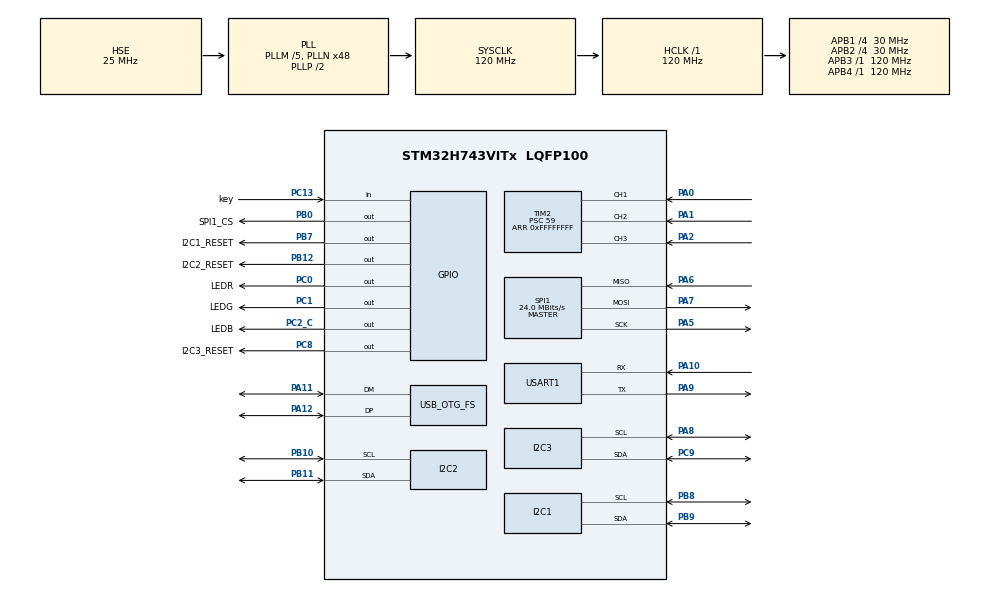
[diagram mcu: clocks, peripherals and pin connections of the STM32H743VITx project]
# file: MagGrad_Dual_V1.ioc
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CORTEX_M7.default_mode_Activation=1
Dma.I2C1_RX.0.Direction=DMA_PERIPH_TO_MEMORY
Dma.I2C1_RX.0.EventEnable=DISABLE
Dma.I2C1_RX.0.FIFOMode=DMA_FIFOMODE_DISABLE
Dma.I2C1_RX.0.Instance=DMA1_Stream0
Dma.I2C1_RX.0.MemDataAlignment=DMA_MDATAALIGN_BYTE
Dma.I2C1_RX.0.MemInc=DMA_MINC_ENABLE
Dma.I2C1_RX.0.Mode=DMA_NORMAL
Dma.I2C1_RX.0.PeriphDataAlignment=DMA_PDATAALIGN_BYTE
Dma.I2C1_RX.0.PeriphInc=DMA_PINC_DISABLE
Dma.I2C1_RX.0.Polarity=HAL_DMAMUX_REQ_GEN_RISING
Dma.I2C1_RX.0.Priority=DMA_PRIORITY_HIGH
Dma.I2C1_RX.0.RequestNumber=1
Dma.I2C1_RX.0.SignalID=NONE
Dma.I2C1_RX.0.SyncEnable=DISABLE
Dma.I2C1_RX.0.SyncPolarity=HAL_DMAMUX_SYNC_NO_EVENT
Dma.I2C1_RX.0.SyncRequestNumber=1
Dma.I2C1_RX.0.SyncSignalID=NONE
Dma.I2C1_TX.1.Direction=DMA_MEMORY_TO_PERIPH
Dma.I2C1_TX.1.EventEnable=DISABLE
Dma.I2C1_TX.1.FIFOMode=DMA_FIFOMODE_DISABLE
Dma.I2C1_TX.1.Instance=DMA1_Stream1
Dma.I2C1_TX.1.MemDataAlignment=DMA_MDATAALIGN_BYTE
Dma.I2C1_TX.1.MemInc=DMA_MINC_ENABLE
Dma.I2C1_TX.1.Mode=DMA_NORMAL
Dma.I2C1_TX.1.PeriphDataAlignment=DMA_PDATAALIGN_BYTE
Dma.I2C1_TX.1.PeriphInc=DMA_PINC_DISABLE
Dma.I2C1_TX.1.Polarity=HAL_DMAMUX_REQ_GEN_RISING
Dma.I2C1_TX.1.Priority=DMA_PRIORITY_HIGH
Dma.I2C1_TX.1.RequestNumber=1
Dma.I2C1_TX.1.SignalID=NONE
Dma.I2C1_TX.1.SyncEnable=DISABLE
Dma.I2C1_TX.1.SyncPolarity=HAL_DMAMUX_SYNC_NO_EVENT
Dma.I2C1_TX.1.SyncRequestNumber=1
Dma.I2C1_TX.1.SyncSignalID=NONE
Dma.I2C2_RX.2.Direction=DMA_PERIPH_TO_MEMORY
Dma.I2C2_RX.2.EventEnable=DISABLE
Dma.I2C2_RX.2.FIFOMode=DMA_FIFOMODE_DISABLE
Dma.I2C2_RX.2.Instance=DMA1_Stream2
Dma.I2C2_RX.2.MemDataAlignment=DMA_MDATAALIGN_BYTE
Dma.I2C2_RX.2.MemInc=DMA_MINC_ENABLE
Dma.I2C2_RX.2.Mode=DMA_NORMAL
Dma.I2C2_RX.2.PeriphDataAlignment=DMA_PDATAALIGN_BYTE
Dma.I2C2_RX.2.PeriphInc=DMA_PINC_DISABLE
Dma.I2C2_RX.2.Polarity=HAL_DMAMUX_REQ_GEN_RISING
Dma.I2C2_RX.2.Priority=DMA_PRIORITY_HIGH
Dma.I2C2_RX.2.RequestNumber=1
Dma.I2C2_RX.2.SignalID=NONE
Dma.I2C2_RX.2.SyncEnable=DISABLE
Dma.I2C2_RX.2.SyncPolarity=HAL_DMAMUX_SYNC_NO_EVENT
Dma.I2C2_RX.2.SyncRequestNumber=1
Dma.I2C2_RX.2.SyncSignalID=NONE
Dma.I2C2_TX.3.Direction=DMA_MEMORY_TO_PERIPH
Dma.I2C2_TX.3.EventEnable=DISABLE
Dma.I2C2_TX.3.FIFOMode=DMA_FIFOMODE_DISABLE
Dma.I2C2_TX.3.Instance=DMA1_Stream3
Dma.I2C2_TX.3.MemDataAlignment=DMA_MDATAALIGN_BYTE
Dma.I2C2_TX.3.MemInc=DMA_MINC_ENABLE
Dma.I2C2_TX.3.Mode=DMA_NORMAL
Dma.I2C2_TX.3.PeriphDataAlignment=DMA_PDATAALIGN_BYTE
Dma.I2C2_TX.3.PeriphInc=DMA_PINC_DISABLE
Dma.I2C2_TX.3.Polarity=HAL_DMAMUX_REQ_GEN_RISING
Dma.I2C2_TX.3.Priority=DMA_PRIORITY_HIGH
Dma.I2C2_TX.3.RequestNumber=1
Dma.I2C2_TX.3.SignalID=NONE
Dma.I2C2_TX.3.SyncEnable=DISABLE
Dma.I2C2_TX.3.SyncPolarity=HAL_DMAMUX_SYNC_NO_EVENT
Dma.I2C2_TX.3.SyncRequestNumber=1
Dma.I2C2_TX.3.SyncSignalID=NONE
Dma.Request0=I2C1_RX
Dma.Request1=I2C1_TX
Dma.Request2=I2C2_RX
Dma.Request3=I2C2_TX
I2C1.Timing=0x00300C10
I2C2.Timing=0x00300C10
I2C3.Timing=0x20F22C36
Mcu.Family=STM32H7
Mcu.Name=STM32H743VITx
Mcu.Package=LQFP100
NVIC.DMA1_Stream0_IRQn=true\:0\:0\:false\:false\:true\:false\:true\:true
NVIC.DMA1_Stream1_IRQn=true\:0\:0\:false\:false\:true\:false\:true\:true
NVIC.DMA1_Stream2_IRQn=true\:0\:0\:false\:false\:true\:false\:true\:true
NVIC.DMA1_Stream3_IRQn=true\:0\:0\:false\:false\:true\:false\:true\:true
NVIC.OTG_FS_IRQn=true\:0\:0\:false\:false\:true\:false\:true\:true
NVIC.PriorityGroup=NVIC_PRIORITYGROUP_4
NVIC.SPI1_IRQn=true\:0\:0\:false\:false\:true\:true\:true\:true
NVIC.TIM2_IRQn=true\:0\:0\:false\:false\:true\:true\:true\:true
PA0.Signal=S_TIM2_CH1_ETR
PA1.Signal=S_TIM2_CH2
PA10.Mode=Asynchronous
PA10.Signal=USART1_RX
PA11.GPIO_Speed=GPIO_SPEED_FREQ_HIGH
PA11.Mode=Device_Only
PA11.Signal=USB_OTG_FS_DM
PA12.GPIO_Speed=GPIO_SPEED_FREQ_HIGH
PA12.Mode=Device_Only
PA12.Signal=USB_OTG_FS_DP
PA2.Signal=S_TIM2_CH3
PA5.GPIO_Speed=GPIO_SPEED_FREQ_VERY_HIGH
PA5.Mode=Full_Duplex_Master
PA5.Signal=SPI1_SCK
PA6.GPIO_Speed=GPIO_SPEED_FREQ_VERY_HIGH
PA6.Mode=Full_Duplex_Master
PA6.Signal=SPI1_MISO
PA7.GPIO_Speed=GPIO_SPEED_FREQ_VERY_HIGH
PA7.Mode=Full_Duplex_Master
PA7.Signal=SPI1_MOSI
PA8.GPIO_Pu=GPIO_PULLUP
PA8.GPIO_PuPd=GPIO_PULLUP
PA8.GPIO_Speed=GPIO_SPEED_FREQ_VERY_HIGH
PA8.Mode=I2C
PA8.Signal=I2C3_SCL
PA9.Mode=Asynchronous
PA9.Signal=USART1_TX
PB0.GPIO_Label=SPI1_CS
PB0.GPIO_OutputLevel=GPIO_PIN_SET
PB0.Signal=GPIO_Output
PB10.GPIO_Pu=GPIO_PULLUP
PB10.GPIO_PuPd=GPIO_PULLUP
PB10.GPIO_Speed=GPIO_SPEED_FREQ_VERY_HIGH
PB10.Mode=I2C
PB10.Signal=I2C2_SCL
PB11.GPIO_Pu=GPIO_PULLUP
PB11.GPIO_PuPd=GPIO_PULLUP
PB11.GPIO_Speed=GPIO_SPEED_FREQ_VERY_HIGH
PB11.Mode=I2C
PB11.Signal=I2C2_SDA
PB12.GPIO_Label=I2C2_RESET
PB12.GPIO_OutputLevel=GPIO_PIN_SET
PB12.Signal=GPIO_Output
PB7.GPIO_Label=I2C1_RESET
PB7.GPIO_OutputLevel=GPIO_PIN_SET
PB7.Signal=GPIO_Output
PB8.GPIO_Pu=GPIO_PULLUP
PB8.GPIO_PuPd=GPIO_PULLUP
PB8.GPIO_Speed=GPIO_SPEED_FREQ_VERY_HIGH
PB8.Mode=I2C
PB8.Signal=I2C1_SCL
PB9.GPIO_Pu=GPIO_PULLUP
PB9.GPIO_PuPd=GPIO_PULLUP
PB9.GPIO_Speed=GPIO_SPEED_FREQ_VERY_HIGH
PB9.Mode=I2C
PB9.Signal=I2C1_SDA
PC0.GPIO_Label=LEDR
PC0.GPIO_OutputLevel=GPIO_PIN_SET
PC0.Signal=GPIO_Output
PC1.GPIO_Label=LEDG
PC1.Signal=GPIO_Output
PC13.GPIO_Label=key
PC13.Signal=GPIO_Input
PC14-OSC32_IN\ (OSC32_IN).Mode=LSE-External-Oscillator
PC14-OSC32_IN\ (OSC32_IN).Signal=RCC_OSC32_IN
PC15-OSC32_OUT\ (OSC32_OUT).Mode=LSE-External-Oscillator
PC15-OSC32_OUT\ (OSC32_OUT).Signal=RCC_OSC32_OUT
PC2_C.GPIO_Label=LEDB
PC2_C.GPIO_OutputLevel=GPIO_PIN_SET
PC2_C.Signal=GPIO_Output
PC8.GPIO_Label=I2C3_RESET
PC8.GPIO_OutputLevel=GPIO_PIN_SET
PC8.Signal=GPIO_Output
PC9.GPIO_Pu=GPIO_PULLUP
PC9.GPIO_PuPd=GPIO_PULLUP
PC9.GPIO_Speed=GPIO_SPEED_FREQ_VERY_HIGH
PC9.Mode=I2C
PC9.Signal=I2C3_SDA
PH0-OSC_IN\ (PH0).Mode=HSE-External-Oscillator
PH0-OSC_IN\ (PH0).Signal=RCC_OSC_IN
PH1-OSC_OUT\ (PH1).Mode=HSE-External-Oscillator
PH1-OSC_OUT\ (PH1).Signal=RCC_OSC_OUT
ProjectManager.HeapSize=0x200
ProjectManager.StackSize=0x400
ProjectManager.TargetToolchain=STM32CubeIDE
RCC.ADCFreq_Value=50390625
RCC.APB1Freq_Value=30000000
RCC.APB2Freq_Value=30000000
RCC.APB3Freq_Value=120000000
RCC.APB4Freq_Value=120000000
RCC.CKPERSourceSelection=RCC_CLKPSOURCE_HSE
RCC.CortexFreq_Value=120000000
RCC.D2PPRE1=RCC_APB1_DIV4
RCC.D2PPRE2=RCC_APB2_DIV4
RCC.DIVM1=5
RCC.DIVN1=48
RCC.DIVQ1=5
RCC.HCLKFreq_Value=120000000
RCC.HSE_VALUE=25000000
RCC.PLLFRACN=0
RCC.PLLSourceVirtual=RCC_PLLSOURCE_HSE
RCC.SYSCLKFreq_VALUE=120000000
RCC.SYSCLKSource=RCC_SYSCLKSOURCE_PLLCLK
RCC.USBFreq_Value=48000000
SH.S_TIM2_CH1_ETR.0=TIM2_CH1,Input_Capture1_from_TI1
SH.S_TIM2_CH2.0=TIM2_CH2,Input_Capture2_from_TI2
SH.S_TIM2_CH3.0=TIM2_CH3,Input_Capture3_from_TI3
SPI1.BaudRatePrescaler=SPI_BAUDRATEPRESCALER_2
SPI1.CalculateBaudRate=24.0 MBits/s
SPI1.DataSize=SPI_DATASIZE_8BIT
SPI1.Direction=SPI_DIRECTION_2LINES
SPI1.Mode=SPI_MODE_MASTER
SPI1.NSSPMode=SPI_NSS_PULSE_DISABLE
SPI1.VirtualType=VM_MASTER
TIM2.Channel-Input_Capture1_from_TI1=TIM_CHANNEL_1
TIM2.Channel-Input_Capture2_from_TI2=TIM_CHANNEL_2
TIM2.Channel-Input_Capture3_from_TI3=TIM_CHANNEL_3
TIM2.ICPrescaler-Input_Capture3_from_TI3=TIM_ICPSC_DIV1
TIM2.Period=0xFFFFFFFF
TIM2.Prescaler=59
USART1.VirtualMode-Asynchronous=VM_ASYNC
USB_DEVICE.CLASS_NAME_FS=CDC
USB_DEVICE.VirtualMode-CDC_FS=Cdc
USB_DEVICE.VirtualModeFS=Cdc_FS
USB_OTG_FS.VirtualMode=Device_Only
VP_MEMORYMAP_VS_MEMORYMAP.Mode=CurAppReg
VP_TIM2_VS_ClockSourceINT.Mode=Internal
VP_USB_DEVICE_VS_USB_DEVICE_CDC_FS.Mode=CDC_FS
board=custom

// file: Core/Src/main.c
#include "sensor_error.h"
uint16_t g_sensor_errormap = 0;
uint8_t g_sensor_failure_streak[12] = {0};
/* USER CODE BEGIN Header */
/**
  ******************************************************************************
  * @file           : main.c
  * @brief          : Main program body
  ******************************************************************************
  * @attention
  *
  * Copyright (c) 2026 STMicroelectronics.
  * All rights reserved.
  *
  * This software is licensed under terms that can be found in the LICENSE file
  * in the root directory of this software component.
  * If no LICENSE file comes with this software, it is provided AS-IS.
  *
  ******************************************************************************
  */
/* USER CODE END Header */
#include "main.h"
#include "dma.h"
#include "i2c.h"
#include "spi.h"
#include "tim.h"
#include "usart.h"
#include "usb_device.h"
#include "gpio.h"

/* USER CODE BEGIN Includes */
#include "icm42670.h"
#include "sensor_ak09973d.h"
#include "sensor_tmag3001.h"
#include "tmag_debug.h"
#include "binary_writer.h"
#include "csv_writer.h"
#include <stdio.h>
#include <string.h>
#include "usbd_cdc_if.h"
#include "usbd_cdc.h"
/* USER CODE END Includes */

/* USER CODE BEGIN PD */

#define PHASE_CAPTURE_CHANNEL_COUNT  3U
#define PHASE_CAPTURE_NO_EDGE        UINT32_MAX

/* USER CODE END PD */

/* USER CODE BEGIN PV */
uint32_t g_device_id;
volatile uint8_t g_tmag_init_debug = TMAG_INIT_DEBUG;
icm42670_raw_t imu;
icm42670_t icm = {
    .hspi = &hspi1,
    .cs_port = SPI1_CS_GPIO_Port,
    .cs_pin = SPI1_CS_Pin};
static volatile uint32_t phase_last_capture[PHASE_CAPTURE_CHANNEL_COUNT];
static volatile uint8_t phase_capture_valid[PHASE_CAPTURE_CHANNEL_COUNT];
/* USER CODE END PV */

void SystemClock_Config(void);
static void MPU_Config(void);

/* USER CODE BEGIN 0 */

#ifndef SENSOR_OUTPUT_ICM
#define SENSOR_OUTPUT_ICM   0
#endif
#ifndef SENSOR_OUTPUT_AK
#define SENSOR_OUTPUT_AK    1
#endif
#ifndef SENSOR_OUTPUT_TMAG
#define SENSOR_OUTPUT_TMAG  0
#endif
#if SENSOR_OUTPUT_AK && SENSOR_OUTPUT_TMAG
#error AK and TMAG must not be enabled together
#endif
#ifndef SENSOR_OUTPUT_FORMAT
#define SENSOR_OUTPUT_FORMAT SENSOR_OUTPUT_FORMAT_BINARY
#endif
#ifndef SENSOR_EMPTY_ROUND_PERIOD_MS
#define SENSOR_EMPTY_ROUND_PERIOD_MS 10U
#endif

static uint32_t DeviceId_FromUID(void)
{
    const uint32_t uid[3] = {
        HAL_GetUIDw0(), HAL_GetUIDw1(), HAL_GetUIDw2()
    };
    uint32_t crc = 0xFFFFFFFFU;

    /* CRC-32/ISO-HDLC over w0, w1, w2, each serialized little-endian. */
    for (size_t word = 0; word < 3U; word++) {
        for (uint32_t byte = 0; byte < 4U; byte++) {
            crc ^= (uid[word] >> (8U * byte)) & 0xFFU;
            for (uint32_t bit = 0; bit < 8U; bit++) {
                crc = (crc >> 1) ^ ((crc & 1U) ? 0xEDB88320U : 0U);
            }
        }
    }
    return crc ^ 0xFFFFFFFFU;
}

static uint32_t PhaseCapture_EnterCritical(void)
{
    uint32_t primask = __get_PRIMASK();
    __disable_irq();
    __DMB();
    return primask;
}

static void PhaseCapture_ExitCritical(uint32_t primask)
{
    __DMB();
    if (primask == 0U) {
        __enable_irq();
    }
}

static void PhaseCapture_Start(void)
{
    uint32_t primask = PhaseCapture_EnterCritical();

    for (uint32_t i = 0; i < PHASE_CAPTURE_CHANNEL_COUNT; i++) {
        phase_last_capture[i] = 0U;
        phase_capture_valid[i] = 0U;
    }
    __HAL_TIM_CLEAR_FLAG(&htim2, TIM_FLAG_CC1 | TIM_FLAG_CC2 | TIM_FLAG_CC3);

    PhaseCapture_ExitCritical(primask);

    if (HAL_TIM_IC_Start_IT(&htim2, TIM_CHANNEL_1) != HAL_OK ||
        HAL_TIM_IC_Start_IT(&htim2, TIM_CHANNEL_2) != HAL_OK ||
        HAL_TIM_IC_Start_IT(&htim2, TIM_CHANNEL_3) != HAL_OK) {
        Error_Handler();
    }
}

static void PhaseCapture_Sample(
    uint32_t phase_age_us[PHASE_CAPTURE_CHANNEL_COUNT], uint32_t *sample_us)
{
    static const uint32_t channels[PHASE_CAPTURE_CHANNEL_COUNT] = {
        TIM_CHANNEL_1, TIM_CHANNEL_2, TIM_CHANNEL_3
    };
    static const uint32_t flags[PHASE_CAPTURE_CHANNEL_COUNT] = {
        TIM_FLAG_CC1, TIM_FLAG_CC2, TIM_FLAG_CC3
    };
    uint32_t captured[PHASE_CAPTURE_CHANNEL_COUNT];
    uint8_t valid[PHASE_CAPTURE_CHANNEL_COUNT];
    uint32_t sample_count;
    uint32_t primask = PhaseCapture_EnterCritical();

    /* 此次 TIM2 读数同时作为轮首时间和三路相位年龄的计算基准。
     * 快照最近捕获的边沿，不等待新边沿；采样后到来的边沿留给下一轮。 */
    sample_count = __HAL_TIM_GET_COUNTER(&htim2);
    *sample_us = sample_count;
    for (uint32_t i = 0; i < PHASE_CAPTURE_CHANNEL_COUNT; i++) {
        captured[i] = phase_last_capture[i];
        valid[i] = phase_capture_valid[i];

        if (__HAL_TIM_GET_FLAG(&htim2, flags[i]) != RESET) {
            uint32_t pending_capture =
                HAL_TIM_ReadCapturedValue(&htim2, channels[i]);

            /* Include a pending edge only if it occurred no later than this sample. */
            if ((int32_t)(sample_count - pending_capture) >= 0) {
                captured[i] = pending_capture;
                valid[i] = 1U;
            }
        }
    }

    PhaseCapture_ExitCritical(primask);

    for (uint32_t i = 0; i < PHASE_CAPTURE_CHANNEL_COUNT; i++) {
        phase_age_us[i] = (valid[i] != 0U)
                            ? (sample_count - captured[i])
                            : PHASE_CAPTURE_NO_EDGE;
    }
}

// USB CDC发送字符串
extern USBD_HandleTypeDef hUsbDeviceFS;

static int USB_CDC_IsBusy(void)
{
    USBD_CDC_HandleTypeDef *hcdc = (USBD_CDC_HandleTypeDef *)hUsbDeviceFS.pClassData;
    return (hcdc != NULL && hcdc->TxState != 0U);
}

static int USB_Send_Buffer(const uint8_t *buf, uint16_t len)
{
    uint16_t sent = 0;

    while (sent < len) {
        uint16_t chunk = len - sent;

        uint32_t start = HAL_GetTick();
        while (USB_CDC_IsBusy()) {
            if ((HAL_GetTick() - start) > 100U) {
                return 0;
            }
        }

        start = HAL_GetTick();
        uint8_t result;
        while ((result = CDC_Transmit_FS((uint8_t *)(buf + sent), chunk)) == USBD_BUSY) {
            if ((HAL_GetTick() - start) > 100U) {
                return 0;
            }
        }
        if (result != USBD_OK) {
            return 0;
        }

        start = HAL_GetTick();
        while (USB_CDC_IsBusy()) {
            if ((HAL_GetTick() - start) > 100U) {
                return 0;
            }
        }

        sent += chunk;
    }
    return 1;
}

int USB_Send_Raw(const uint8_t *buf, uint16_t len)
{
    return USB_Send_Buffer(buf, len);
}

void USB_Send_String(char *str)
{
    size_t len = strlen(str);
    if (len > UINT16_MAX) {
        len = UINT16_MAX;
    }
    USB_Send_Buffer((const uint8_t *)str, (uint16_t)len);
}

static void USB_Send_PrintBuffer(char *ptr, int len)
{
    if (len <= 0) {
        return;
    }
    while (len > 0) {
        uint16_t chunk = (len > UINT16_MAX) ? UINT16_MAX : (uint16_t)len;
        USB_Send_Buffer((const uint8_t *)ptr, chunk);
        ptr += chunk;
        len -= chunk;
    }
}

int _write(int file, char *ptr, int len)
{
    (void)file;
#if SENSOR_OUTPUT_FORMAT == SENSOR_OUTPUT_FORMAT_CSV
    USB_Send_PrintBuffer(ptr, len);
#else
    if (g_tmag_init_debug != 0U) {
        USB_Send_PrintBuffer(ptr, len);
    }
#endif
    HAL_UART_Transmit(&huart1, (uint8_t *)ptr, len, 100);
    return len;
}

/* USER CODE END 0 */

int main(void)
{

  /* USER CODE BEGIN 1 */
  // Immediate test - LED GPIO should work even before clock init
  // This confirms firmware is running
  // Note: Can't printf yet - clock not configured
  /* USER CODE END 1 */

  /* MPU Configuration--------------------------------------------------------*/
  MPU_Config();

  /* MCU Configuration--------------------------------------------------------*/

  /* Reset of all peripherals, Initializes the Flash interface and the Systick. */
  HAL_Init();

  /* Configure the system clock */
  SystemClock_Config();

  /* Initialize all configured peripherals */
  MX_GPIO_Init();
  MX_DMA_Init();
  MX_I2C1_Init();
  MX_I2C2_Init();
  MX_SPI1_Init();
  MX_USART1_UART_Init();
  MX_USB_DEVICE_Init();
  MX_I2C3_Init();
  MX_TIM2_Init();
  /* USER CODE BEGIN 2 */

  g_device_id = DeviceId_FromUID();

  HAL_GPIO_WritePin(LEDR_GPIO_Port, LEDR_Pin, SensorError_Count() >= 3 ? GPIO_PIN_RESET : GPIO_PIN_SET);
  HAL_GPIO_WritePin(LEDG_GPIO_Port, LEDG_Pin, GPIO_PIN_SET);
  HAL_GPIO_WritePin(LEDB_GPIO_Port, LEDB_Pin, GPIO_PIN_SET);

  HAL_Delay(100);
  HAL_Delay(2000);  // 等待 USB CDC 准备好

  /* Give the host time to reopen the USB port after a board reset. */
  if (g_tmag_init_debug != 0U) {
      HAL_Delay(TMAG_INIT_DEBUG_WAIT_MS);
  }

  printf("=== MAG READ START ===\r\n");
  TMAG_INIT_LOG("[TMAG INIT] debug=1 build=%s %s wait_ms=%lu\r\n",
                __DATE__, __TIME__, (unsigned long)TMAG_INIT_DEBUG_WAIT_MS);

  if (ICM42670_Init(&icm) != HAL_OK)
  {
      printf("ICM init FAILED\r\n");
      /* Red LED is controlled by the shared fault count. */
  }
  else
  {
      printf("ICM init OK (WHO=0x67)\r\n");
  }

  int ak_count = 0;
  int tmag_count = 0;
  for (int attempt = 1; attempt <= 1; attempt++) {
      printf("MAG init attempt %d\r\n", attempt);
#if SENSOR_OUTPUT_AK
      Sensor_AK09973D_Init_All();
#endif
#if SENSOR_OUTPUT_TMAG
      Sensor_TMAG3001_Init_All();
#endif

#if SENSOR_OUTPUT_AK
      ak_count = Sensor_AK09973D_GetCount();
#else
      ak_count = AK09973D_COUNT;
#endif
#if SENSOR_OUTPUT_TMAG
      tmag_count = Sensor_TMAG3001_GetCount();
#else
      tmag_count = TMAG3001_TOTAL_NUM;
#endif
      printf("MAG init count AK=%d/%d TMAG=%d/%d\r\n",
             ak_count, AK09973D_COUNT, tmag_count, TMAG3001_TOTAL_NUM);

      if (ak_count == AK09973D_COUNT && tmag_count == TMAG3001_TOTAL_NUM) {
          HAL_GPIO_WritePin(LEDR_GPIO_Port, LEDR_Pin, SensorError_Count() >= 3 ? GPIO_PIN_RESET : GPIO_PIN_SET);
          break;
      }
      HAL_Delay(500);
      /* Red LED is controlled by the shared fault count. */
  }

  HAL_GPIO_WritePin(LEDR_GPIO_Port, LEDR_Pin, SensorError_Count() >= 3 ? GPIO_PIN_RESET : GPIO_PIN_SET);
  PhaseCapture_Start();

  /* USER CODE END 2 */

  /* Infinite loop */
  while (1) {

    /* USER CODE BEGIN 3 */

#if SENSOR_OUTPUT_FORMAT == SENSOR_OUTPUT_FORMAT_BINARY
      static uint8_t binary_frame[4096];
#else
      static char frame[3072];
#endif
      uint32_t phase_us[PHASE_CAPTURE_CHANNEL_COUNT];
      uint32_t round_start_us;
      int n = 0;

#if SENSOR_OUTPUT_FORMAT == SENSOR_OUTPUT_FORMAT_BINARY
      uint32_t round_start_ms = HAL_GetTick();
#endif
      /* 每轮时序：轮首相位快照 → ICM → AK → TMAG → 附加记录 → 封帧发送。
       * 仅执行已启用的传感器读取；round_start_us 为此轮 TIM2 微秒基准，并读相位。 */
      PhaseCapture_Sample(phase_us, &round_start_us);
#if SENSOR_OUTPUT_FORMAT == SENSOR_OUTPUT_FORMAT_BINARY
      static uint32_t previous_timing_us[3] = {0};
      static uint32_t round_seq = 0;
      static uint32_t record_seq = 0;
      static uint32_t ak_frames = 0;
      static uint32_t tmag_frames = 0;
      static uint32_t icm_frames = 0;
      static uint32_t skipped = 0;
      static uint32_t errors = 0;
      static uint32_t usb_send_failures = 0;
      static uint32_t pending_usb_failures = 0;
      static uint32_t last_stats_ms = 0;
      const uint32_t ak_frames_before = ak_frames;
      const uint32_t tmag_frames_before = tmag_frames;
      const uint32_t icm_frames_before = icm_frames;
      size_t off = 0;
      int build_ok = BinaryWriter_BeginRound(binary_frame, sizeof(binary_frame),
                                             &off, round_seq++, round_start_us,
                                             round_start_us);

#if SENSOR_OUTPUT_ICM
      /* ① 相位快照后先读 ICM；读取结束后将有效数据追加到本轮缓冲区。
       * 记录中的 offset_us 是追加记录时相对轮首的时间，不是内部转换时刻。 */
      n = ICM42670_ReadToBinary(&icm, binary_frame + off,
                                sizeof(binary_frame) - off,
                                &record_seq, &icm_frames, &skipped, &errors);
      if (n > 0) off += (size_t)n;
#endif

#if SENSOR_OUTPUT_AK
      /* ② ICM 处理完后依次读取 AK 各通道；未启用 ICM 时从这里开始读传感器。
       * 各条有效记录分别标记读取完成偏移，因此同轮各通道并非同时采样。 */
      n = Sensor_AK09973D_ReadToBinary(binary_frame + off,
                                       sizeof(binary_frame) - off,
                                       &record_seq, &ak_frames, &skipped, &errors);
      if (n > 0) off += (size_t)n;
#endif

#if SENSOR_OUTPUT_TMAG
      /* ③ AK 处理完后依次读取 TMAG 各通道，数据继续追加到同一轮缓冲区。
       * 各条有效记录的读取完成偏移仍相对轮首 TIM2 计数计算。 */
      {
          n = Sensor_TMAG3001_ReadAllToBinary(binary_frame + off,
                                              sizeof(binary_frame) - off,
                                              &record_seq, &tmag_frames,
                                              &skipped, &errors);
          if (n > 0) off += (size_t)n;
      }
#endif

      if (pending_usb_failures != 0U) {
          build_ok &= BinaryWriter_AppendError(binary_frame, sizeof(binary_frame), &off,
                                                record_seq++, HAL_GetTick(),
                                                BINARY_ERR_SOURCE_USB, 1U,
                                                usb_send_failures);
      }
      /* ④ 传感器读取结束后追加 PHASE，但其内容仍是本轮开始时的相位快照。
       * 此处仅打包，不重新采集相位；有待报告的 USB 错误时先追加 ERR。 */
      build_ok &= BinaryWriter_AppendPhase(binary_frame, sizeof(binary_frame), &off,
                                           record_seq++, HAL_GetTick(), phase_us);

      uint32_t now = HAL_GetTick();
      if ((now - last_stats_ms) >= 1000U) {
          build_ok &= BinaryWriter_AppendStats(binary_frame, sizeof(binary_frame), &off,
                                               record_seq++, now,
                                               ak_frames, tmag_frames, icm_frames,
                                               skipped, errors, g_device_id, g_sensor_errormap, previous_timing_us);
          last_stats_ms = now;
      }
      /* ⑤ 到期时追加 STATS 后，填写整轮长度和 CRC，再通过 USB 发送整轮。
       * 发送处理结束后才进入轮尾等待/下一轮；此前传感器读取不逐条发送。 */
      uint32_t usb_start_us;
      uint32_t usb_elapsed_us = 0;
      if (!build_ok || !BinaryWriter_EndRound(binary_frame, sizeof(binary_frame), &off)) {
          errors++;
      } else {
          usb_start_us = __HAL_TIM_GET_COUNTER(&htim2);
          int usb_ok = USB_Send_Raw(binary_frame, (uint16_t)off);
          usb_elapsed_us = (uint32_t)(__HAL_TIM_GET_COUNTER(&htim2) - usb_start_us);
          if (!usb_ok) {
              errors++;
              usb_send_failures++;
              pending_usb_failures++;
          } else {
              pending_usb_failures = 0U;
          }
      }
#if SENSOR_OUTPUT_AK
      previous_timing_us[0] = g_ak_bus_read_us[0];
      previous_timing_us[1] = g_ak_bus_read_us[1];
#endif
      previous_timing_us[2] = usb_elapsed_us;

      /* ERR, PHASE and STATS do not count as sensor records. Include reads,
       * frame construction and USB waits, even when construction/send fails. */
      if (ak_frames == ak_frames_before &&
          tmag_frames == tmag_frames_before &&
          icm_frames == icm_frames_before) {
          uint32_t elapsed_ms = HAL_GetTick() - round_start_ms;
          if (elapsed_ms < SENSOR_EMPTY_ROUND_PERIOD_MS) {
              HAL_Delay(SENSOR_EMPTY_ROUND_PERIOD_MS - elapsed_ms);
          }
      }

#else
      (void)round_start_us;
      /* CSV 调试模式也按 ICM → AK → TMAG 顺序读取已启用的传感器。
       * 各类数据读完即发送，最后发送轮首相位快照，不聚合为二进制整轮帧。 */
#if SENSOR_OUTPUT_ICM
      n = ICM42670_ReadToCSV(&icm, frame, sizeof(frame));
      if (n > 0) {
          if (n < (int)sizeof(frame)) {
              frame[n] = '\0';
              USB_Send_String(frame);
          }
      }
#endif

#if SENSOR_OUTPUT_AK
      n = Sensor_AK09973D_ReadToCSV(frame, sizeof(frame));
      if (n > 0) {
          if (n < (int)sizeof(frame)) {
              frame[n] = '\0';
              USB_Send_String(frame);
          }
      }
#endif

#if SENSOR_OUTPUT_TMAG
      {
          n = Sensor_TMAG3001_ReadAllToCSV(frame, sizeof(frame));

          if (n > 0) {
              if (n < (int)sizeof(frame)) {
                  frame[n] = '\0';
                  USB_Send_String(frame);
              }
          }
      }
#endif

      {
          size_t off = 0;
          if (CSV_AppendPhase(frame, sizeof(frame), &off, phase_us) &&
              off < sizeof(frame)) {
              frame[off] = '\0';
              USB_Send_String(frame);
          }
      }
#endif

      // LED 状态指示
      HAL_GPIO_WritePin(LEDR_GPIO_Port, LEDR_Pin,
                        SensorError_Count() >= 3U ? GPIO_PIN_RESET : GPIO_PIN_SET);
      static uint32_t last_toggle = 0;
      if (HAL_GetTick() - last_toggle > 500)
      {
          HAL_GPIO_TogglePin(LEDG_GPIO_Port, LEDG_Pin);
          last_toggle = HAL_GetTick();
      }
  }
  /* USER CODE END 3 */
}

void SystemClock_Config(void)
{
  RCC_OscInitTypeDef RCC_OscInitStruct = {0};
  RCC_ClkInitTypeDef RCC_ClkInitStruct = {0};

  /** Supply configuration update enable
  */
  HAL_PWREx_ConfigSupply(PWR_LDO_SUPPLY);

  /** Configure the main internal regulator output voltage
  */
  __HAL_PWR_VOLTAGESCALING_CONFIG(PWR_REGULATOR_VOLTAGE_SCALE3);

  while(!__HAL_PWR_GET_FLAG(PWR_FLAG_VOSRDY)) {}

  /** Initializes the RCC Oscillators according to the specified parameters
  * in the RCC_OscInitTypeDef structure.
  */
  RCC_OscInitStruct.OscillatorType = RCC_OSCILLATORTYPE_HSE;
  RCC_OscInitStruct.HSEState = RCC_HSE_ON;
  RCC_OscInitStruct.PLL.PLLState = RCC_PLL_ON;
  RCC_OscInitStruct.PLL.PLLSource = RCC_PLLSOURCE_HSE;
  RCC_OscInitStruct.PLL.PLLM = 5;
  RCC_OscInitStruct.PLL.PLLN = 48;
  RCC_OscInitStruct.PLL.PLLP = 2;
  RCC_OscInitStruct.PLL.PLLQ = 5;
  RCC_OscInitStruct.PLL.PLLR = 2;
  RCC_OscInitStruct.PLL.PLLRGE = RCC_PLL1VCIRANGE_2;
  RCC_OscInitStruct.PLL.PLLVCOSEL = RCC_PLL1VCOWIDE;
  RCC_OscInitStruct.PLL.PLLFRACN = 0;
  if (HAL_RCC_OscConfig(&RCC_OscInitStruct) != HAL_OK)
  {
    Error_Handler();
  }

  /** Initializes the CPU, AHB and APB buses clocks
  */
  RCC_ClkInitStruct.ClockType = RCC_CLOCKTYPE_HCLK|RCC_CLOCKTYPE_SYSCLK
                              |RCC_CLOCKTYPE_PCLK1|RCC_CLOCKTYPE_PCLK2
                              |RCC_CLOCKTYPE_D3PCLK1|RCC_CLOCKTYPE_D1PCLK1;
  RCC_ClkInitStruct.SYSCLKSource = RCC_SYSCLKSOURCE_PLLCLK;
  RCC_ClkInitStruct.SYSCLKDivider = RCC_SYSCLK_DIV1;
  RCC_ClkInitStruct.AHBCLKDivider = RCC_HCLK_DIV1;
  RCC_ClkInitStruct.APB3CLKDivider = RCC_APB3_DIV1;
  RCC_ClkInitStruct.APB1CLKDivider = RCC_APB1_DIV4;
  RCC_ClkInitStruct.APB2CLKDivider = RCC_APB2_DIV4;
  RCC_ClkInitStruct.APB4CLKDivider = RCC_APB4_DIV1;

  if (HAL_RCC_ClockConfig(&RCC_ClkInitStruct, FLASH_LATENCY_2) != HAL_OK)
  {
    Error_Handler();
  }
}

/* USER CODE BEGIN 4 */

void HAL_TIM_IC_CaptureCallback(TIM_HandleTypeDef *htim)
{
    /* 三路上升沿由 TIM2 硬件持续捕获，中断更新最近边沿，与主循环读取异步。
     * 每轮开始的 PhaseCapture_Sample() 读取这些捕获值并计算边沿年龄。 */
    if (htim->Instance != TIM2) {
        return;
    }

    switch (htim->Channel) {
        case HAL_TIM_ACTIVE_CHANNEL_1:
            phase_last_capture[0] = HAL_TIM_ReadCapturedValue(htim, TIM_CHANNEL_1);
            phase_capture_valid[0] = 1U;
            break;
        case HAL_TIM_ACTIVE_CHANNEL_2:
            phase_last_capture[1] = HAL_TIM_ReadCapturedValue(htim, TIM_CHANNEL_2);
            phase_capture_valid[1] = 1U;
            break;
        case HAL_TIM_ACTIVE_CHANNEL_3:
            phase_last_capture[2] = HAL_TIM_ReadCapturedValue(htim, TIM_CHANNEL_3);
            phase_capture_valid[2] = 1U;
            break;
        default:
            break;
    }
}

/* USER CODE END 4 */

 /* MPU Configuration */

void MPU_Config(void)
{
  MPU_Region_InitTypeDef MPU_InitStruct = {0};

  /* Disables the MPU */
  HAL_MPU_Disable();

  /** Initializes and configures the Region and the memory to be protected
  */
  MPU_InitStruct.Enable = MPU_REGION_ENABLE;
  MPU_InitStruct.Number = MPU_REGION_NUMBER0;
  MPU_InitStruct.BaseAddress = 0x0;
  MPU_InitStruct.Size = MPU_REGION_SIZE_4GB;
  MPU_InitStruct.SubRegionDisable = 0x87;
  MPU_InitStruct.TypeExtField = MPU_TEX_LEVEL0;
  MPU_InitStruct.AccessPermission = MPU_REGION_NO_ACCESS;
  MPU_InitStruct.DisableExec = MPU_INSTRUCTION_ACCESS_DISABLE;
  MPU_InitStruct.IsShareable = MPU_ACCESS_SHAREABLE;
  MPU_InitStruct.IsCacheable = MPU_ACCESS_NOT_CACHEABLE;
  MPU_InitStruct.IsBufferable = MPU_ACCESS_NOT_BUFFERABLE;

  HAL_MPU_ConfigRegion(&MPU_InitStruct);
  /* Enables the MPU */
  HAL_MPU_Enable(MPU_PRIVILEGED_DEFAULT);

}

void Error_Handler(void)
{
  __disable_irq();
  while (1)
  {
  }
}
